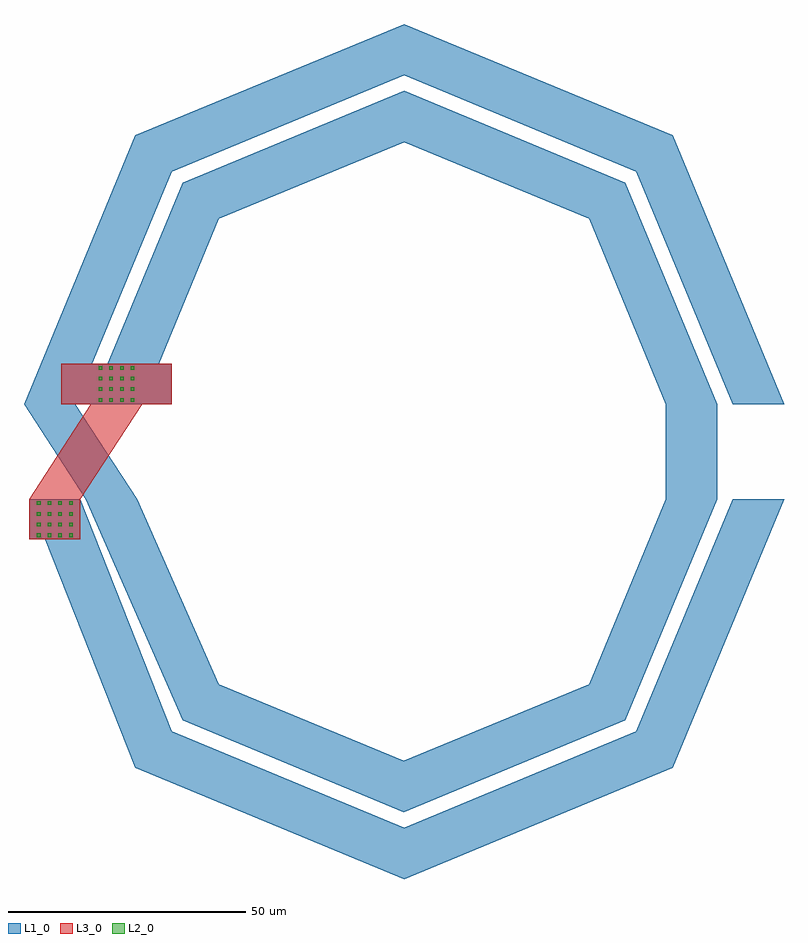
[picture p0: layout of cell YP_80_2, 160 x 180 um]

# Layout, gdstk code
import gdstk
lib = gdstk.Library(unit=1e-6, precision=1e-09)
def R(c, l, rs):  # rectangles x0, y0, x1, y1
    for r in rs: c.add(gdstk.rectangle(r[:2], r[2:], *l))
def A(c, l, x, y, w, h, nx, ny, dx, dy):  # array of equal rectangles
    R(c, l, [(x+i*dx, y+j*dy, x+i*dx+w, y+j*dy+h) for i in range(nx) for j in range(ny)])
def P(c, l, *ps):  # polygons
    for p in ps: c.add(gdstk.Polygon(p, *l))
L1_0 = (1, 0)
L2_0 = (2, 0)
L3_0 = (3, 0)

yp_80_2 = lib.new_cell('YP_80_2')
R(yp_80_2, L1_0, [(121.07,181.5,131.89,190), (255.1,189.99,265.92,209.99), (127.88,210,151.08,218.5)])
P(yp_80_2, L1_0, [(269.17,210),(248.91,258.91),(256.56,266.56),(280,210)],
  [(248.91,258.91),(200,279.17),(200,290),(256.56,266.56)],
  [(151.08,258.91),(143.43,266.56),(200,290),(200,279.17)],
  [(120,210),(143.43,266.56),(151.08,258.91),(130.82,210)],
  [(133,190),(120,210),(130.82,210),(143.82,190)],
  [(153.38,143.38),(133,190),(143.82,190),(161.03,151.03)],
  [(199.99,124.07),(153.38,143.38),(161.03,151.03),(199.99,134.89)],
  [(199.99,124.07),(199.99,134.89),(238.96,151.03),(246.61,143.38)],
  [(246.61,143.38),(238.96,151.03),(255.1,189.99),(265.92,189.99)],
  [(255.1,209.99),(238.96,248.96),(246.61,256.61),(265.92,209.99)],
  [(238.96,248.96),(200,265.1),(200,275.92),(246.61,256.61)],
  [(161.03,248.96),(153.38,256.61),(200,275.92),(200,265.1)],
  [(134.07,210),(153.38,256.61),(161.03,248.96),(144.89,210)],
  [(143.43,133.43),(121.07,190),(131.89,190),(151.08,141.08)],
  [(200,110),(143.43,133.43),(151.08,141.08),(200,120.82)],
  [(200,110),(200,120.82),(248.91,141.08),(256.56,133.43)],
  [(256.56,133.43),(248.91,141.08),(269.17,190),(280,190)])
A(yp_80_2, L2_0, 122.73, 182, 0.75, 0.75, 4, 4, 2.25, 2.25)
A(yp_80_2, L2_0, 135.73, 210.5, 0.75, 0.75, 4, 4, 2.25, 2.25)
R(yp_80_2, L3_0, [(121.07,181.5,131.89,190), (127.88,210,151.08,218.5)])
P(yp_80_2, L3_0, [(121.07,190),(134.07,210),(144.89,210),(131.89,190)])

lib.write_gds('YP_80_2.gds')
